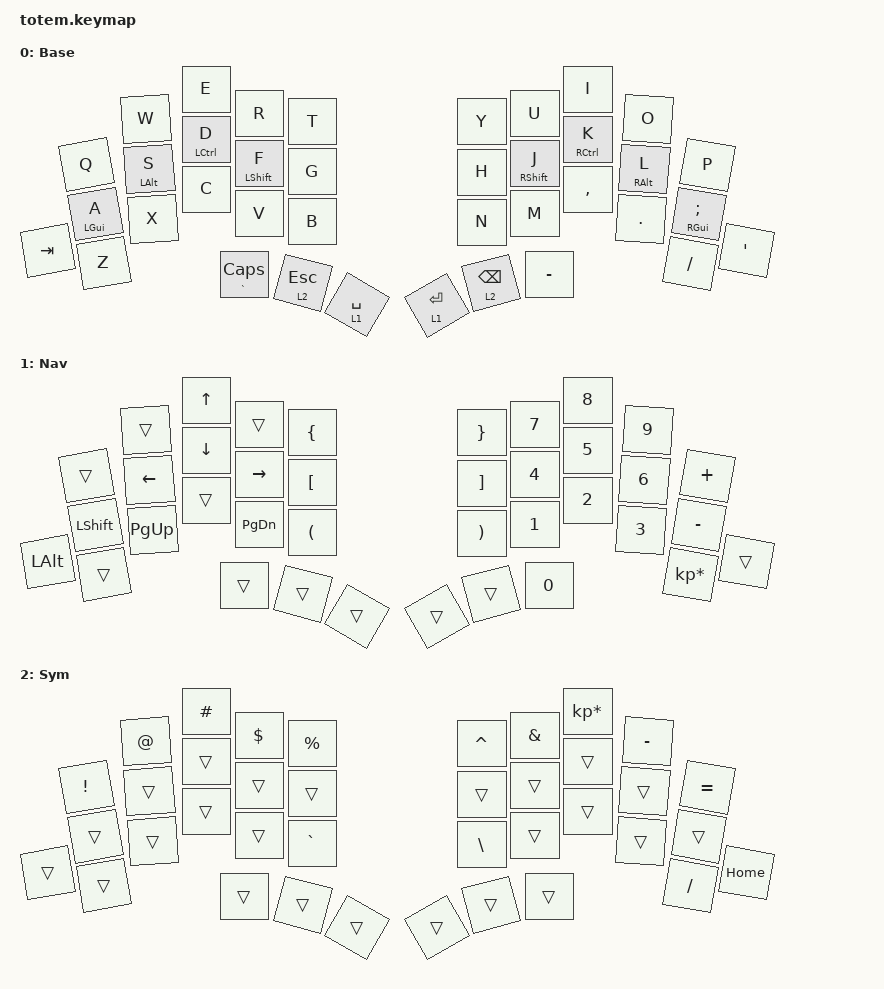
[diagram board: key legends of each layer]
//
//                                                        ▀▀▀▀▀     ▀▀▀▀▀          ▀▀█▀▀
//                                                        ▄▀▀▀▄  ▄  ▄▀▀▀▄  ▄  ▄▀▀▀▄  █  ▄▀▀▀▄
//                                                        █   █  █  █   █  █  █   █  █  █   █
//                                                         ▀▀▀   █   ▀▀▀   █   ▀▀▀   ▀   ▀▀▀
//                                                               █      ▄▄▄█▄▄▄    █   █  
//                                                               ▀      █  █  █     █▄█
//                                                             ▀▀▀▀▀    █  █  █      ▀
//                                                                      ▀  ▀  ▀
//
// ▄▄▄▄▄▄▄▄▄▄▄▄▄▄▄▄▄▄▄▄▄▄▄▄▄▄▄▄▄▄▄▄▄▄▄▄▄▄▄▄▄▄▄▄▄▄▄▄▄▄▄▄▄▄▄▄▄▄▄▄▄▄▄▄▄▄▄▄▄▄▄▄▄▄▄▄▄▄▄▄▄▄▄▄▄▄▄▄▄▄▄▄▄▄▄▄▄▄▄▄▄▄▄▄▄▄▄▄▄▄▄▄▄▄▄▄▄▄▄▄▄▄▄▄▄▄▄▄▄▄▄▄▄▄▄▄▄▄▄▄▄▄▄▄▄▄▄▄▄

#include <behaviors.dtsi>
#include <dt-bindings/zmk/keys.h>

#define Base        0
#define Nav         1
#define Sym         2

&mt {
    quick-tap-ms = <100>;
    global-quick-tap;
    flavor = "tap-preferred";
    tapping-term-ms = <170>;
};

&lt {
    tapping-term-ms = <240>;
    flavor = "balanced";
    quick-tap-ms = <150>;
};

/ {
    behaviors {
        hm: homerow_mods {
            compatible = "zmk,behavior-hold-tap";
            label = "HOMEROW_MODS";
            #binding-cells = <2>;
            flavor = "tap-preferred";
            tapping-term-ms = <200>;
            quick-tap-ms = <125>;
            global-quick-tap;
            bindings = <&kp>, <&kp>;
        };
    };

    combos { compatible = "zmk,combos"; };

    keymap {
        compatible = "zmk,keymap";

        Base {
            label = "Base";
            bindings = <
         &kp Q       &kp W       &kp E               &kp R         &kp T          &kp Y      &kp U        &kp I        &kp O       &kp P
         &hm LGUI A  &hm LALT S  &hm LCTRL D         &hm LSHIFT F  &kp G          &kp H      &hm RSHFT J  &hm RCTRL K  &hm RALT L  &hm RGUI SEMICOLON
&kp TAB  &kp Z       &kp X       &kp C               &kp V         &kp B          &kp N      &kp M        &kp COMMA    &kp DOT     &kp SLASH           &kp SQT
                                 &mt GRAVE CAPSLOCK  &lt 2 ESCAPE  &lt 1 SPACE    &lt 1 RET  &lt 2 BSPC   &kp MINUS
            >;
        };

        Nav {
            label = "Nav";
            bindings = <
              &trans          &trans       &kp UP_ARROW  &trans     &kp LBRC    &kp RBRC  &kp NUMBER_7  &kp NUMBER_8  &kp NUMBER_9  &kp PLUS
              &kp LEFT_SHIFT  &kp LEFT     &kp DOWN      &kp RIGHT  &kp LBKT    &kp RBKT  &kp NUMBER_4  &kp NUMBER_5  &kp NUMBER_6  &kp MINUS
&kp LEFT_ALT  &trans          &kp PAGE_UP  &trans        &kp PG_DN  &kp LPAR    &kp RPAR  &kp NUMBER_1  &kp NUMBER_2  &kp NUMBER_3  &kp KP_MULTIPLY  &trans
                                           &trans        &trans     &trans      &trans    &trans        &kp NUMBER_0
            >;
        };

        Sym {
            label = "Sym";
            bindings = <
        &kp EXCL  &kp AT  &kp HASH  &kp DOLLAR  &kp PERCENT    &kp CARET      &kp AMPERSAND  &kp KP_ASTERISK  &kp MINUS  &kp EQUAL
        &trans    &trans  &trans    &trans      &trans         &trans         &trans         &trans           &trans     &trans
&trans  &trans    &trans  &trans    &trans      &kp GRAVE      &kp BACKSLASH  &trans         &trans           &trans     &kp SLASH  &kp HOME
                          &trans    &trans      &trans         &trans         &trans         &trans
            >;
        };
    };
};
